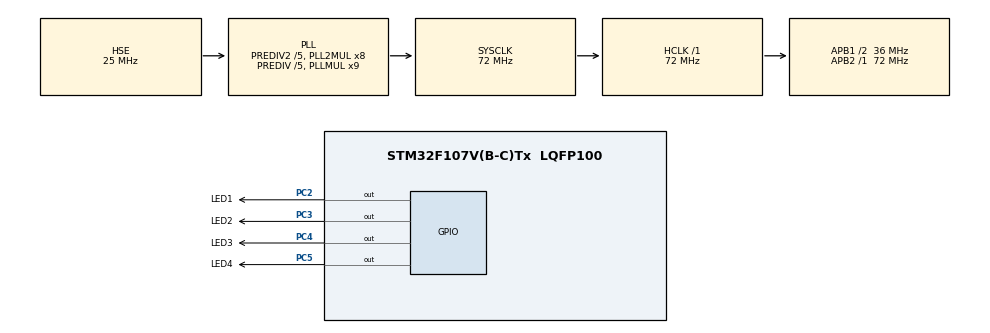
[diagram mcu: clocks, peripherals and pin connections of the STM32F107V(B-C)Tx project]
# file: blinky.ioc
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Mcu.Family=STM32F1
Mcu.Name=STM32F107V(B-C)Tx
Mcu.Package=LQFP100
NVIC.PriorityGroup=NVIC_PRIORITYGROUP_4
OSC_IN.Mode=HSE-External-Oscillator
OSC_IN.Signal=RCC_OSC_IN
OSC_OUT.Mode=HSE-External-Oscillator
OSC_OUT.Signal=RCC_OSC_OUT
PA13.Mode=Serial_Wire
PA13.Signal=SYS_JTMS-SWDIO
PA14.Mode=Serial_Wire
PA14.Signal=SYS_JTCK-SWCLK
PC2.GPIO_Label=LED1
PC2.Signal=GPIO_Output
PC3.GPIO_Label=LED2
PC3.Signal=GPIO_Output
PC4.GPIO_Label=LED3
PC4.Signal=GPIO_Output
PC5.GPIO_Label=LED4
PC5.Signal=GPIO_Output
ProjectManager.HeapSize=0x200
ProjectManager.StackSize=0x400
ProjectManager.TargetToolchain=MDK-ARM V5
RCC.AHBFreq_Value=72000000
RCC.APB1CLKDivider=RCC_HCLK_DIV2
RCC.APB1Freq_Value=36000000
RCC.APB1TimFreq_Value=72000000
RCC.APB2Freq_Value=72000000
RCC.APB2TimFreq_Value=72000000
RCC.HCLKFreq_Value=72000000
RCC.HSEDivPLL=RCC_HSE_PREDIV_DIV5
RCC.HSE_VALUE=25000000
RCC.PLLMUL=RCC_PLL_MUL9
RCC.PLLSourceVirtual=RCC_PLLSOURCE_HSE
RCC.Prediv1Source=RCC_PREDIV1_SOURCE_PLL2
RCC.Prediv2=RCC_HSE_PREDIV2_DIV5
RCC.SYSCLKFreq_VALUE=72000000
RCC.SYSCLKSource=RCC_SYSCLKSOURCE_PLLCLK
RCC.USBFreq_Value=48000000
board=blinky

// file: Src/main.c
/**
  ******************************************************************************
  * @file           : main.c
  * @brief          : Main program body
  ******************************************************************************
  ** This notice applies to any and all portions of this file
  * that are not between comment pairs USER CODE BEGIN and
  * USER CODE END. Other portions of this file, whether
  * inserted by the user or by software development tools
  * are owned by their respective copyright owners.
  *
  * COPYRIGHT(c) 2018 STMicroelectronics
  *
  * Redistribution and use in source and binary forms, with or without modification,
  * are permitted provided that the following conditions are met:
  *   1. Redistributions of source code must retain the above copyright notice,
  *      this list of conditions and the following disclaimer.
  *   2. Redistributions in binary form must reproduce the above copyright notice,
  *      this list of conditions and the following disclaimer in the documentation
  *      and/or other materials provided with the distribution.
  *   3. Neither the name of STMicroelectronics nor the names of its contributors
  *      may be used to endorse or promote products derived from this software
  *      without specific prior written permission.
  *
  * THIS SOFTWARE IS PROVIDED BY THE COPYRIGHT HOLDERS AND CONTRIBUTORS "AS IS"
  * AND ANY EXPRESS OR IMPLIED WARRANTIES, INCLUDING, BUT NOT LIMITED TO, THE
  * IMPLIED WARRANTIES OF MERCHANTABILITY AND FITNESS FOR A PARTICULAR PURPOSE ARE
  * DISCLAIMED. IN NO EVENT SHALL THE COPYRIGHT HOLDER OR CONTRIBUTORS BE LIABLE
  * FOR ANY DIRECT, INDIRECT, INCIDENTAL, SPECIAL, EXEMPLARY, OR CONSEQUENTIAL
  * DAMAGES (INCLUDING, BUT NOT LIMITED TO, PROCUREMENT OF SUBSTITUTE GOODS OR
  * SERVICES; LOSS OF USE, DATA, OR PROFITS; OR BUSINESS INTERRUPTION) HOWEVER
  * CAUSED AND ON ANY THEORY OF LIABILITY, WHETHER IN CONTRACT, STRICT LIABILITY,
  * OR TORT (INCLUDING NEGLIGENCE OR OTHERWISE) ARISING IN ANY WAY OUT OF THE USE
  * OF THIS SOFTWARE, EVEN IF ADVISED OF THE POSSIBILITY OF SUCH DAMAGE.
  *
  ******************************************************************************
  */
#include "main.h"
#include "stm32f1xx_hal.h"

/* USER CODE BEGIN PV */
/* Private variables ---------------------------------------------------------*/

/* USER CODE END PV */

void SystemClock_Config(void);
static void MX_GPIO_Init(void);

/* USER CODE BEGIN PFP */
/* Private function prototypes -----------------------------------------------*/

/* USER CODE END PFP */

int main(void)
{

  /* MCU Configuration----------------------------------------------------------*/

  /* Reset of all peripherals, Initializes the Flash interface and the Systick. */
  HAL_Init();

  /* Configure the system clock */
  SystemClock_Config();

  /* Initialize all configured peripherals */
  MX_GPIO_Init();

  /* Infinite loop */
  while (1)
  {

  /* USER CODE BEGIN 3 */
		HAL_GPIO_WritePin(GPIOC,LED1_Pin,1);
		HAL_Delay(100);
		HAL_GPIO_WritePin(GPIOC,LED2_Pin,1);
		HAL_Delay(100);
		HAL_GPIO_WritePin(GPIOC,LED3_Pin,1);
		HAL_Delay(100);
		HAL_GPIO_WritePin(GPIOC,LED4_Pin,1);
		HAL_Delay(100);
		HAL_GPIO_WritePin(GPIOC,LED1_Pin,0);
		HAL_Delay(100);
		HAL_GPIO_WritePin(GPIOC,LED2_Pin,0);
		HAL_Delay(100);
		HAL_GPIO_WritePin(GPIOC,LED3_Pin,0);
		HAL_Delay(100);
		HAL_GPIO_WritePin(GPIOC,LED4_Pin,0);
		HAL_Delay(100);

  }
  /* USER CODE END 3 */

}

void SystemClock_Config(void)
{

  RCC_OscInitTypeDef RCC_OscInitStruct;
  RCC_ClkInitTypeDef RCC_ClkInitStruct;

    /**Initializes the CPU, AHB and APB busses clocks
    */
  RCC_OscInitStruct.OscillatorType = RCC_OSCILLATORTYPE_HSE;
  RCC_OscInitStruct.HSEState = RCC_HSE_ON;
  RCC_OscInitStruct.HSEPredivValue = RCC_HSE_PREDIV_DIV5;
  RCC_OscInitStruct.HSIState = RCC_HSI_ON;
  RCC_OscInitStruct.Prediv1Source = RCC_PREDIV1_SOURCE_PLL2;
  RCC_OscInitStruct.PLL.PLLState = RCC_PLL_ON;
  RCC_OscInitStruct.PLL.PLLSource = RCC_PLLSOURCE_HSE;
  RCC_OscInitStruct.PLL.PLLMUL = RCC_PLL_MUL9;
  RCC_OscInitStruct.PLL2.PLL2State = RCC_PLL2_ON;
  RCC_OscInitStruct.PLL2.PLL2MUL = RCC_PLL2_MUL8;
  RCC_OscInitStruct.PLL2.HSEPrediv2Value = RCC_HSE_PREDIV2_DIV5;
  if (HAL_RCC_OscConfig(&RCC_OscInitStruct) != HAL_OK)
  {
    _Error_Handler(__FILE__, __LINE__);
  }

    /**Initializes the CPU, AHB and APB busses clocks
    */
  RCC_ClkInitStruct.ClockType = RCC_CLOCKTYPE_HCLK|RCC_CLOCKTYPE_SYSCLK
                              |RCC_CLOCKTYPE_PCLK1|RCC_CLOCKTYPE_PCLK2;
  RCC_ClkInitStruct.SYSCLKSource = RCC_SYSCLKSOURCE_PLLCLK;
  RCC_ClkInitStruct.AHBCLKDivider = RCC_SYSCLK_DIV1;
  RCC_ClkInitStruct.APB1CLKDivider = RCC_HCLK_DIV2;
  RCC_ClkInitStruct.APB2CLKDivider = RCC_HCLK_DIV1;

  if (HAL_RCC_ClockConfig(&RCC_ClkInitStruct, FLASH_LATENCY_2) != HAL_OK)
  {
    _Error_Handler(__FILE__, __LINE__);
  }

    /**Configure the Systick interrupt time
    */
  HAL_SYSTICK_Config(HAL_RCC_GetHCLKFreq()/1000);

    /**Configure the Systick
    */
  HAL_SYSTICK_CLKSourceConfig(SYSTICK_CLKSOURCE_HCLK);

    /**Configure the Systick interrupt time
    */
  __HAL_RCC_PLLI2S_ENABLE();

  /* SysTick_IRQn interrupt configuration */
  HAL_NVIC_SetPriority(SysTick_IRQn, 0, 0);
}

/** Configure pins as
        * Analog
        * Input
        * Output
        * EVENT_OUT
        * EXTI
*/
static void MX_GPIO_Init(void)
{

  GPIO_InitTypeDef GPIO_InitStruct;

  /* GPIO Ports Clock Enable */
  __HAL_RCC_GPIOC_CLK_ENABLE();
  __HAL_RCC_GPIOA_CLK_ENABLE();

  /*Configure GPIO pin Output Level */
  HAL_GPIO_WritePin(GPIOC, LED1_Pin|LED2_Pin|LED3_Pin|LED4_Pin, GPIO_PIN_RESET);

  /*Configure GPIO pins : LED1_Pin LED2_Pin LED3_Pin LED4_Pin */
  GPIO_InitStruct.Pin = LED1_Pin|LED2_Pin|LED3_Pin|LED4_Pin;
  GPIO_InitStruct.Mode = GPIO_MODE_OUTPUT_PP;
  GPIO_InitStruct.Speed = GPIO_SPEED_FREQ_LOW;
  HAL_GPIO_Init(GPIOC, &GPIO_InitStruct);

}

void _Error_Handler(char *file, int line)
{
  while(1)
  {
  }
}

/************************ (C) COPYRIGHT STMicroelectronics *****END OF FILE****/
